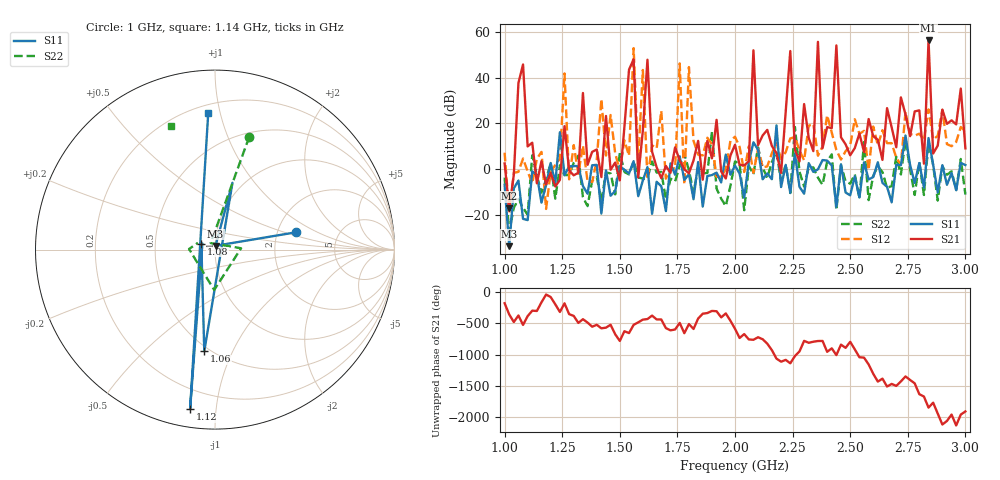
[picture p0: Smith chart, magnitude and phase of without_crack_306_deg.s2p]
# MHz S MA R 50
!  freq  S11  S21  S12  S22
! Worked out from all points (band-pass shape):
!   101 points, 1 GHz to 3 GHz, reference 50 ohm
!   highest |S21| = 56.15 dB at 2.84 GHz (marker M1); lowest = -17.1 dB at 1.02 GHz (marker M2)
!   |S21| within 3 dB of the highest: 2.358993 GHz to 2.361034 GHz (2.041 MHz wide, 0.0865 % of centre); 2.439534 GHz to 2.440419 GHz (885.1 kHz wide, 0.0363 % of centre) (the widest 2 of 3)
!   lowest |S11| = -33.5 dB at 1.02 GHz (marker M3), VSWR 1.04, Z = 50.2 + j2.1 ohm
!   |S11| at or under -10 dB: 1.002 GHz to 1.039 GHz (36.17 MHz wide, 3.54 % of centre); 1.066 GHz to 1.111 GHz (45.33 MHz wide, 4.16 % of centre); 2.48 GHz to 2.503 GHz (23.45 MHz wide, 0.941 % of centre) (the widest 3 of 19)
!   |S22| runs from -27.2 to 18.4 dB; largest |S21 - S12| = 6.5e+02
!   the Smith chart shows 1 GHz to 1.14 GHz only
!   S11 on the Smith chart (normalised r, x): 1 GHz: 2.55, +0.63; 1.06 GHz: 0.47, -0.78; 1.08 GHz: 0.86, +0.06; 1.12 GHz: 0.09, -0.85; 1.14 GHz: 0.26, +0.92
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1000  0.4632 12.1  1.341 -175.6  2.3 -174.6  0.6578 73.1
1020  0.02113 82.3  0.14 4.5  0.1075 26.2  0.04358 123.6
1060  0.5691 -96.0  76.12 -11.6  0.8808 92.4  0.2248 -91.2
1080  0.08328 156.1  192.4 -163.3  1.717 116.4  0.1448 178.7
1120  0.8997 -98.9  3.797 65.2  0.4943 30.4  2.011 179.5
1140  0.7602 92.8  0.4945 60.1  1.689 -155.9  0.7288 109.7
1340  0.4323 103.0  45.93 -71.5  3.28 -72.8  0.2471 97.5
1540  0.8153 -71.6  148.4 66.2  1.973 131.5  0.7704 -62.3
1560  1.499 73.5  249.4 -162.0  436.7 -177.2  1.504 73.8
1580  0.2596 -55.2  0.6653 -121.8  1.411 -44.2  0.6677 -62.9
1680  0.4272 158.7  0.641 -75.6  18.73 -126.8  0.8775 94.9
2000  1.202 120.7  3.426 135.1  5.115 41.5  1.48 122.0
2240  0.3067 -122.7  377.5 -57.9  4.704 -158.3  0.304 -116.0
2340  0.8786 95.6  2.489 -72.1  9.649 81.3  1.098 59.8
2360  0.9968 69.1  598.7 -60.9  1.979 -4.0  0.6597 32.0
2440  0.1527 -82.1  500.5 73.7  2.631 145.6  0.1293 -66.0
2460  1.287 123.9  4.987 -118.7  1.632 97.9  1.221 36.6
2680  0.191 18.3  8.18 -27.5  3.719 -175.1  0.4304 -32.6
2820  0.3999 -170.1  1.326 130.4  4.38 118.9  0.2753 163.8
2840  4.798 -49.2  641.8 -47.1  20.16 -153.6  3.828 -33.8
2860  1.259 140.7  2.21 31.9  4.459 83.9  1.24 139.5
3000  1.237 43.2  2.862 -108.1  6.703 81.0  0.2817 -62.2
